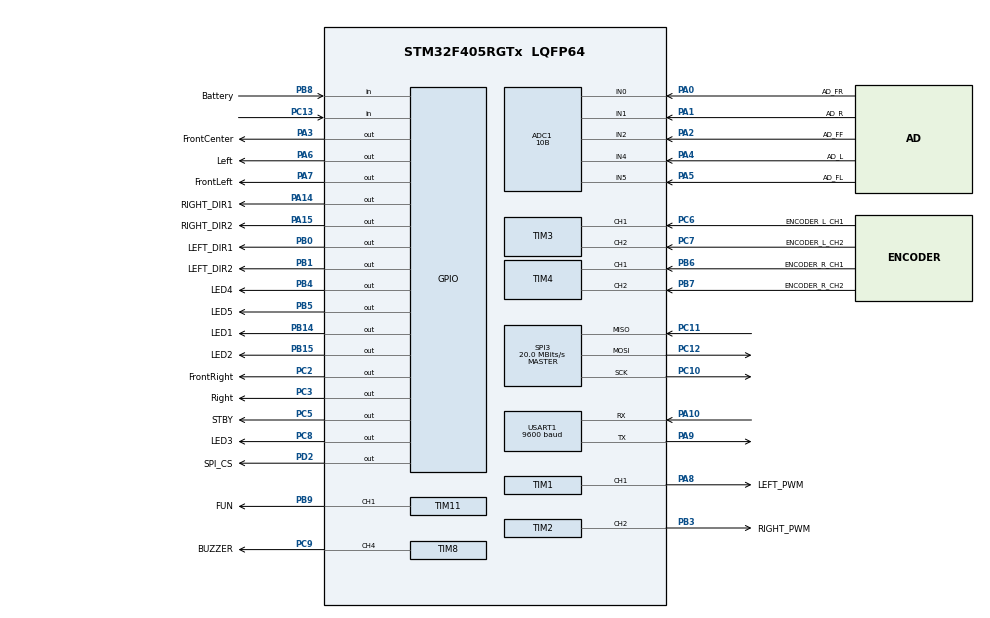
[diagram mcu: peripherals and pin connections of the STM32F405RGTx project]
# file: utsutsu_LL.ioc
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VP_TIM5_VS_ClockSourceINT.Mode=Internal
SPI3.Direction=SPI_DIRECTION_2LINES
SPI3.VirtualType=VM_MASTER
PC12.Signal=SPI3_MOSI
PB14.GPIO_Label=LED1
PA14.GPIO_Label=RIGHT_DIR1
PC6.GPIO_Label=ENCODER_L_CH1
PA6.GPIO_Label=Left
PB6.GPIO_Label=ENCODER_R_CH1
TIM8.Channel-PWM\ Generation4\ CH4=TIM_CHANNEL_4
RCC.SYSCLKSource=RCC_SYSCLKSOURCE_PLLCLK
NVIC.TIM5_IRQn=true\:1\:0\:true\:false\:true\:true\:true
TIM8.Pulse-PWM\ Generation4\ CH4=100
RCC.APB2TimFreq_Value=80000000
Dma.ADC1.0.Direction=DMA_PERIPH_TO_MEMORY
PB6.Signal=S_TIM4_CH1
ADC1.Channel-2\#ChannelRegularConversion=ADC_CHANNEL_2
PC7.Signal=S_TIM3_CH2
PC3.Signal=GPIO_Output
Dma.ADC1.0.MemDataAlignment=DMA_MDATAALIGN_HALFWORD
ADC1.ScanConvMode=ENABLE
PC13-ANTI_TAMP.Signal=GPIO_Input
TIM1.Channel-PWM\ Generation1\ CH1=TIM_CHANNEL_1
PB1.GPIO_Label=LEFT_DIR2
Dma.ADC1.0.PeriphInc=DMA_PINC_DISABLE
SH.S_TIM4_CH2.0=TIM4_CH2,Encoder_Interface
PA8.Signal=S_TIM1_CH1
VP_TIM1_VS_ClockSourceINT.Mode=Internal
ADC1.SamplingTime-0\#ChannelRegularConversion=ADC_SAMPLETIME_15CYCLES
Mcu.Package=LQFP64
PB9.Signal=S_TIM11_CH1
TIM2.Prescaler=7
PB1.Signal=GPIO_Output
SH.S_TIM8_CH4.0=TIM8_CH4,PWM Generation4 CH4
SPI3.Mode=SPI_MODE_MASTER
PA10.Signal=USART1_RX
PC11.Mode=Full_Duplex_Master
TIM2.Pulse-PWM\ Generation2\ CH2=50
RCC.APB2CLKDivider=RCC_HCLK_DIV4
SH.S_TIM4_CH1.0=TIM4_CH1,Encoder_Interface
RCC.APB1TimFreq_Value=80000000
Dma.ADC1.0.FIFOMode=DMA_FIFOMODE_DISABLE
TIM1.Period=99
PA4.GPIO_Label=AD_L
ADC1.EOCSelection=ADC_EOC_SEQ_CONV
ADC1.Rank-4\#ChannelRegularConversion=5
Dma.ADC1.0.Instance=DMA2_Stream0
ADC1.Rank-0\#ChannelRegularConversion=1
PC13-ANTI_TAMP.GPIO_PuPd=GPIO_PULLDOWN
TIM3.AutoReloadPreload=TIM_AUTORELOAD_PRELOAD_ENABLE
PB8.GPIO_PuPd=GPIO_PULLUP
PC6.Signal=S_TIM3_CH1
PC2.Signal=GPIO_Output
RCC.APB1CLKDivider=RCC_HCLK_DIV4
PA0-WKUP.GPIO_Label=AD_FR
PA0-WKUP.Signal=ADCx_IN0
TIM1.AutoReloadPreload=TIM_AUTORELOAD_PRELOAD_ENABLE
PB8.GPIO_Label=Battery
PA8.GPIO_Label=LEFT_PWM
Dma.ADC1.0.Priority=DMA_PRIORITY_LOW
PA9.Signal=USART1_TX
VP_TIM8_VS_ClockSourceINT.Mode=Internal
PB14.Signal=GPIO_Output
PA5.Signal=ADCx_IN5
PC12.Mode=Full_Duplex_Master
TIM8.AutoReloadPreload=TIM_AUTORELOAD_PRELOAD_DISABLE
PB4.GPIO_Label=LED4
PB15.GPIO_Label=LED2
PA1.GPIO_Label=AD_R
SH.ADCx_IN4.0=ADC1_IN4,IN4
ADC1.DMAContinuousRequests=ENABLE
TIM2.Period=99
TIM8.Period=1000
PC7.GPIO_Label=ENCODER_L_CH2
ADC1.SamplingTime-1\#ChannelRegularConversion=ADC_SAMPLETIME_15CYCLES
PA4.Signal=ADCx_IN4
PB5.Signal=GPIO_Output
ADC1.master=1
PA5.GPIO_Label=AD_FL
USART1.VirtualMode=VM_ASYNC
ADC1.Rank-1\#ChannelRegularConversion=2
ProjectManager.HeapSize=0x200
SH.ADCx_IN5.0=ADC1_IN5,IN5
NVIC.PriorityGroup=NVIC_PRIORITYGROUP_4
TIM2.AutoReloadPreload=TIM_AUTORELOAD_PRELOAD_ENABLE
PC3.GPIO_Label=Right
PD2.Signal=GPIO_Output
PB0.Signal=GPIO_Output
PD2.GPIO_Label=SPI_CS
Mcu.Family=STM32F4
RCC.CortexFreq_Value=160000000
ADC1.ContinuousConvMode=DISABLE
USART1.BaudRate=9600
SH.ADCx_IN2.0=ADC1_IN2,IN2
PC10.Signal=SPI3_SCK
TIM4.EncoderMode=TIM_ENCODERMODE_TI12
TIM3.EncoderMode=TIM_ENCODERMODE_TI12
PB0.GPIO_Label=LEFT_DIR1
TIM1.Pulse-PWM\ Generation1\ CH1=50
TIM2.Channel-PWM\ Generation2\ CH2=TIM_CHANNEL_2
PB15.Signal=GPIO_Output
ProjectManager.StackSize=0x400
PA15.GPIO_Label=RIGHT_DIR2
TIM1.Prescaler=7
SPI3.CLKPolarity=SPI_POLARITY_HIGH
ADC1.Channel-3\#ChannelRegularConversion=ADC_CHANNEL_4
RCC.HCLKFreq_Value=160000000
ADC1.Resolution=ADC_RESOLUTION_10B
NVIC.DMA2_Stream0_IRQn=true\:0\:0\:false\:false\:true\:false\:true
RCC.AHBFreq_Value=160000000
ADC1.Channel-0\#ChannelRegularConversion=ADC_CHANNEL_0
RCC.HSE_VALUE=25000000
ADC1.SamplingTime-4\#ChannelRegularConversion=ADC_SAMPLETIME_15CYCLES
ADC1.Rank-2\#ChannelRegularConversion=3
PB7.Signal=S_TIM4_CH2
SH.ADCx_IN0.0=ADC1_IN0,IN0
SH.S_TIM3_CH1.0=TIM3_CH1,Encoder_Interface
TIM6.Period=65535
PB7.GPIO_Label=ENCODER_R_CH2
PA6.Signal=GPIO_Output
PA2.GPIO_Label=AD_FF
PA15.Signal=GPIO_Output
TIM8.Prescaler=800-1
SH.ADCx_IN1.0=ADC1_IN1,IN1
PB5.GPIO_Label=LED5
PC5.Signal=GPIO_Output
SH.S_TIM11_CH1.0=TIM11_CH1,PWM Generation1 CH1
Dma.Request0=ADC1
PC2.GPIO_Label=FrontRight
PB4.Signal=GPIO_Output
PA3.Signal=GPIO_Output
PB3.GPIO_Label=RIGHT_PWM
TIM4.AutoReloadPreload=TIM_AUTORELOAD_PRELOAD_ENABLE
PB9.GPIO_Label=FUN
ADC1.Channel-4\#ChannelRegularConversion=ADC_CHANNEL_5
PA10.Mode=Asynchronous
PC9.GPIO_Label=BUZZER
PC11.Signal=SPI3_MISO
PC8.Signal=GPIO_Output
TIM6.Prescaler=79
PC10.Mode=Full_Duplex_Master
VP_TIM6_VS_ClockSourceINT.Mode=Enable_Timer
ADC1.SamplingTime-2\#ChannelRegularConversion=ADC_SAMPLETIME_15CYCLES
VP_TIM11_VS_ClockSourceINT.Mode=Enable_Timer
PC8.GPIO_Label=LED3
SH.S_TIM2_CH2.0=TIM2_CH2,PWM Generation2 CH2
Dma.ADC1.0.PeriphDataAlignment=DMA_PDATAALIGN_HALFWORD
PA9.Mode=Asynchronous
SH.S_TIM1_CH1.0=TIM1_CH1,PWM Generation1 CH1
ProjectManager.TargetToolchain=STM32CubeIDE
Dma.ADC1.0.Mode=DMA_NORMAL
ADC1.Channel-1\#ChannelRegularConversion=ADC_CHANNEL_1
RCC.LSE_VALUE=32768
PA1.Signal=ADCx_IN1
TIM3.IC2Polarity=TIM_ICPOLARITY_RISING
TIM4.IC2Polarity=TIM_ICPOLARITY_RISING
SH.S_TIM3_CH2.0=TIM3_CH2,Encoder_Interface
board=custom
SPI3.CLKPhase=SPI_PHASE_2EDGE
RCC.VCOOutputFreq_Value=320000000
RCC.APB2Freq_Value=40000000
SPI3.CalculateBaudRate=20.0 MBits/s
TIM2.OCMode_PWM-PWM\ Generation2\ CH2=TIM_OCMODE_PWM1
VP_TIM2_VS_ClockSourceINT.Mode=Internal
SPI3.BaudRatePrescaler=SPI_BAUDRATEPRESCALER_2
ADC1.NbrOfConversion=5
Mcu.Name=STM32F405RGTx
PA2.Signal=ADCx_IN2
RCC.48MHZClocksFreq_Value=80000000
PB3.Signal=S_TIM2_CH2
RCC.SYSCLKFreq_VALUE=160000000
PA7.GPIO_Label=FrontLeft
ADC1.Rank-3\#ChannelRegularConversion=4
ADC1.SamplingTime-3\#ChannelRegularConversion=ADC_SAMPLETIME_15CYCLES
TIM2.OC2Preload_PWM=ENABLE
TIM5.Prescaler=79
PC5.GPIO_Label=STBY
PA14.Signal=GPIO_Output
Dma.ADC1.0.MemInc=DMA_MINC_ENABLE
RCC.HSI_VALUE=16000000
ADC1.NbrOfConversionFlag=1
RCC.PLLM=8
RCC.PLLN=160
TIM11.Channel=TIM_CHANNEL_1
PB8.Signal=GPIO_Input
TIM5.Period=999
PC9.Signal=S_TIM8_CH4
RCC.APB1Freq_Value=40000000
PA3.GPIO_Label=FrontCenter
PA7.Signal=GPIO_Output

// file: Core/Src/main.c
/* USER CODE BEGIN Header */
/**
  ******************************************************************************
  * @file           : main.c
  * @brief          : Main program body
  ******************************************************************************
  * @attention
  *
  * <h2><center>&copy; Copyright (c) 2021 STMicroelectronics.
  * All rights reserved.</center></h2>
  *
  * This software component is licensed by ST under BSD 3-Clause license,
  * the "License"; You may not use this file except in compliance with the
  * License. You may obtain a copy of the License at:
  *                        opensource.org/licenses/BSD-3-Clause
  *
  ******************************************************************************
  */
/* USER CODE END Header */
#include "main.h"
#include "adc.h"
#include "dma.h"
#include "spi.h"
#include "tim.h"
#include "usart.h"
#include "gpio.h"

/* USER CODE BEGIN Includes */
#include<stdio.h>

#include"Controller/mode.h"
#include"Controller/state.h"
#include"Controller/callback.h"
#include"Controller/search.h"
#include"Controller/test.h"

#include"System/music.h"
#include"System/sensing.h"
#include"System/motion.h"
#include"System/log.h"
#include"System/flags.h"
#include"System/map.h"
#include"System/route.h"

#include"Hardware/ICM20689.h"
#include"Hardware/basic_timer.h"
#include"Hardware/battery.h"
#include"Hardware/buzzer.h"
#include"Hardware/encoder.h"
#include"Hardware/interface_LED.h"
#include "Hardware/motor.h"
#include"Hardware/wall_sensor.h"

/* USER CODE END Includes */

void SystemClock_Config(void);
/* USER CODE BEGIN PFP */

#ifdef __GNUC__
#define PUTCHAR_PROTOTYPE int __io_putchar(int c)
#else
#define PUTCHAR_PROTOTYPE int fputc(int ch, FILE *f)
#endif /* __GNUC__ */

int __io_putchar(int c)
{
	if( c == '\n'){
		uint8_t _c = '\r';
		  LL_USART_TransmitData8(USART1, _c);
		  while(LL_USART_IsActiveFlag_TXE(USART1) == 0);
	}
	LL_USART_TransmitData8(USART1, (uint8_t)c);
	while(LL_USART_IsActiveFlag_TXE(USART1) == 0);
	return 0;
}
/* USER CODE END PFP */

int main(void)
{

  /* MCU Configuration--------------------------------------------------------*/

  /* Reset of all peripherals, Initializes the Flash interface and the Systick. */

  LL_APB2_GRP1_EnableClock(LL_APB2_GRP1_PERIPH_SYSCFG);
  LL_APB1_GRP1_EnableClock(LL_APB1_GRP1_PERIPH_PWR);

  NVIC_SetPriorityGrouping(NVIC_PRIORITYGROUP_4);

  /* System interrupt init*/

  /* USER CODE BEGIN Init */
  setbuf(stdout,NULL);

  /* USER CODE END Init */

  /* Configure the system clock */
  SystemClock_Config();

  /* Initialize all configured peripherals */
  MX_GPIO_Init();
  MX_DMA_Init();
  MX_ADC1_Init();
  MX_TIM1_Init();
  MX_TIM2_Init();
  MX_TIM3_Init();
  MX_TIM4_Init();
  MX_TIM8_Init();
  MX_USART1_UART_Init();
  MX_SPI3_Init();
  MX_TIM11_Init();
  MX_TIM5_Init();
  MX_TIM6_Init();
  /* USER CODE BEGIN 2 */
  enableMelody();
  waitMs(1);

  initSensors();
  initMouseStatus();
  if(readBatteryCheck()==0)		errorFunctions(1);
  MF.FLAG.FIRST = 1;
  MF.FLAG.CALLBACK = 1;
  basicTimerStart();
  search_method = !NORTH;

  uint8_t mode;

  /* USER CODE END 2 */

  /* Infinite loop */
  /* USER CODE BEGIN WHILE */
  while (1)	{
    /* USER CODE END WHILE */

    /* USER CODE BEGIN 3 */
	  mode = modeSelect();
	  waitMs(500);
	  switch(mode){
	  	  case 0:		//		ログの吐き出し
	  		 MF.FLAG.SAFETY= OFF;
	  		waitStarting();
	  		basicTimerPause();
	  		  for(uint16_t i = 0;i<MAX_LOG;i++){
	  			  printf("%.3f,%.3f,%.3f,%.3f,%.3f,%.3f,%.3f,%.3f,%4d,%4d,%.3f,%.3f\n",
	  					g_log[i].target_velocity, g_log[i].target_omega,
						g_log[i].target_accel,
						g_log[i].real_velocity, g_log[i].real_omega,
						g_log[i].real_accel,
						g_log[i].mileage, g_log[i].angle,
						g_log[i].left_sensor, g_log[i].right_sensor,
						g_log[i].l_duty, g_log[i].r_duty);
	  			  	    waitMs(1);
	  		  }
	  		  basicTimerStart();
	  		  break;

	  	  case 1:		//		探索走行
	  		  MelodyNatsumatsuri();
//	==== 走行準備 ====
	  		  waitStarting();
	  		  getOffsets();
	  		  enableEncoder();
	  		  enableMotors();
	  		  mouse.angle = 0.0f;
//	==== 探索中 ====
	  		  goal.x = GOAL_X, goal.y = GOAL_Y;
	  		  searchMazeBySlalom(GOAL_LENGTH);
	  		  goal.x = 0, goal.y = 0;
	  		  enableMotors();
	  		  searchMazeBySlalom(RETURN_GOAL_LENGTH);
	  		  goal.x = GOAL_X, goal.y = GOAL_Y;
//	==== 帰還後の処理 ====
	  		  MF.FLAG.CALLBACK = ON;
	  		  enableMotors();
	  		  rotateSafteyR180();
	  		  changeDirection(DIR_SPIN_180);
	  		  MF.FLAG.CALLBACK = OFF;
	  		  shutdownMotors();
	  		  break;

	  	  case 2:	// 探索方法を変更
	  		  search_method = !search_method;
	  		  break;

	  	  case 3 :	 // 走行テスト用、片道探索
	  		  MelodyRayearth();

	  		  waitStarting();
	  		  getOffsets();
	  		  enableEncoder();
	  		  enableMotors();
	  		  mouse.angle = 0.0f;

	  		  goal.x = GOAL_X, goal.y = GOAL_Y;
	  		  searchMazeBySlalom(GOAL_LENGTH);

	  		  MF.FLAG.CALLBACK = OFF;
	  		  shutdownMotors();
	  		  break;

	  	  case 4 :
	  		  //記憶された迷路を読み出す、疑似最短用 and 最短経路Pass算出
	  		  MelodyYamato();
	  		  MF.FLAG.SCND = ON;
	  		  MF.FLAG.FIRST = OFF;
	  		  loadWallMap();
	  		  goal.x = GOAL_X, goal.y = GOAL_Y;
	  		  point.x = 0, point.y = 0;
	  		  makeStepMap(GOAL_LENGTH);
	  		  makeRouteNESW();
	  		  MakePass();
	  		  break;

	  	  case 5 :
	  		  //記憶された迷路を読み出す、重ね探索用
	  		  MelodyUrara();
	  		  MF.FLAG.SCND = OFF;
	  		  MF.FLAG.FIRST = OFF;
	  		  loadWallMap();
	  		 break;
	  	  case 6 :		// 経路表示
	  		  MF.FLAG.SAFETY= OFF;
	  		  waitStarting();
	  		  basicTimerPause();
	  		  ShowPass();
	  		  //迷路情報の開示
	  		  ConvertMapIntoWall();
	  		  PrintWallData();
	  		  break;
	  	  case 7 :// 裏パラメータ
	  		  param = &param4;
	  		  PID_omega = &PID_omega2023;
	  		  MelodyKurenai();
	  		  //	==== 走行準備 ====
	  		  waitStarting();
	  		  getOffsets();
	  		  enableEncoder();
	  		  enableMotors();
	  		  mouse.angle = 0.0f;
	  		  // ==== 走行 ====
	  		  ReadPass();
	  		  // ==== 走行終了 ====
	  		  MF.FLAG.CALLBACK = OFF;
	  		  shutdownMotors();
	  		  break;
	  	  case 8 :		// 最初のパラメータ
	  		  param = &param1;
	  		  MelodyNatsumatsuri();
	  		  //	==== 走行準備 ====
	  		  waitStarting();
	  		  getOffsets();
	  		  enableEncoder();
	  		  enableMotors();
	  		  mouse.angle = 0.0f;
	  		  // ==== 走行 ====
	  		  ReadPass();
	  		  // ==== 帰り走行 計算準備====
//	  		  goal.x = 0, goal.y = 0;
//	  		  point.x = real_goal.x, point.y = real_goal.y;
//	  		  point.dir = real_goal.dir;
//	  		  point.dir = (point.dir + DIR_SPIN_180) & 0x03;	//	ゴールから出る方向に回転
//	  		  makeStepMap(1);
//	  		  makeRouteNESW();
//	  		  MakePass();
//	  		  enableEncoder();
//	  		  enableMotors();
//	  		  mouse.angle = 0.0f;
	  		// ==== 帰り走行 ====
//	  		  spinRight180();
//	  		  backMotion(FIX_MM);
//	  		  ReadPass();
	  		  // ==== 走行終了 ====
	  		  MF.FLAG.CALLBACK = OFF;
	  		  shutdownMotors();
	  		  break;
	  	  case 9 :		// 攻めたパラメータ
	  		  param = &param2;
	  		  MelodyNatsumatsuri();
	  		  //	==== 走行準備 ====
	  		  waitStarting();
	  		  getOffsets();
	  		  enableEncoder();
	  		  enableMotors();
	  		  mouse.angle = 0.0f;
	  		  // ==== 走行 ====
	  		  ReadPass();
	  		  // ==== 走行終了 ====
	  		  MF.FLAG.CALLBACK = OFF;
	  		  shutdownMotors();
	  		  break;
	  	  case 10 :			// パラメータMAX
	  		  param = &param3;
	  		  PID_omega = &PID_omega2023;
	  		  MelodyKurenai();
	  		  //	==== 走行準備 ====
	  		  waitStarting();
	  		  getOffsets();
	  		  enableEncoder();
	  		  enableMotors();
	  		  mouse.angle = 0.0f;
	  		  // ==== 走行 ====
	  		  ReadPass();
	  		  // ==== 走行終了 ====
	  		  MF.FLAG.CALLBACK = OFF;
	  		  shutdownMotors();
	  		  break;
	  	  case 11 :		// 走行テスト
			  MelodySummer();
			  param = &param3;
			  PID_omega = &PID_omega2023;
			  testMotions();
			  MelodySummer();
	  	  	  break;
	  	  case 12:	testIMU();				break;
	  	  case 13:	testEncoders();  		break;
	  	  case 14:	testWallSensors();	break;
//	  	  case 15:	testKeepDistance();	break;
	  	  default:								break;
	  }
  }
  /* USER CODE END 3 */
}

void SystemClock_Config(void)
{
  LL_FLASH_SetLatency(LL_FLASH_LATENCY_5);
  while(LL_FLASH_GetLatency()!= LL_FLASH_LATENCY_5)
  {
  }
  LL_PWR_SetRegulVoltageScaling(LL_PWR_REGU_VOLTAGE_SCALE1);
  LL_RCC_HSI_SetCalibTrimming(16);
  LL_RCC_HSI_Enable();

   /* Wait till HSI is ready */
  while(LL_RCC_HSI_IsReady() != 1)
  {

  }
  LL_RCC_PLL_ConfigDomain_SYS(LL_RCC_PLLSOURCE_HSI, LL_RCC_PLLM_DIV_8, 160, LL_RCC_PLLP_DIV_2);
  LL_RCC_PLL_Enable();

   /* Wait till PLL is ready */
  while(LL_RCC_PLL_IsReady() != 1)
  {

  }
  LL_RCC_SetAHBPrescaler(LL_RCC_SYSCLK_DIV_1);
  LL_RCC_SetAPB1Prescaler(LL_RCC_APB1_DIV_4);
  LL_RCC_SetAPB2Prescaler(LL_RCC_APB2_DIV_4);
  LL_RCC_SetSysClkSource(LL_RCC_SYS_CLKSOURCE_PLL);

   /* Wait till System clock is ready */
  while(LL_RCC_GetSysClkSource() != LL_RCC_SYS_CLKSOURCE_STATUS_PLL)
  {

  }
  LL_Init1msTick(160000000);
  LL_SetSystemCoreClock(160000000);
}

void Error_Handler(void)
{
  __disable_irq();
  while (1)
  {
  }
}

/************************ (C) COPYRIGHT STMicroelectronics *****END OF FILE****/
